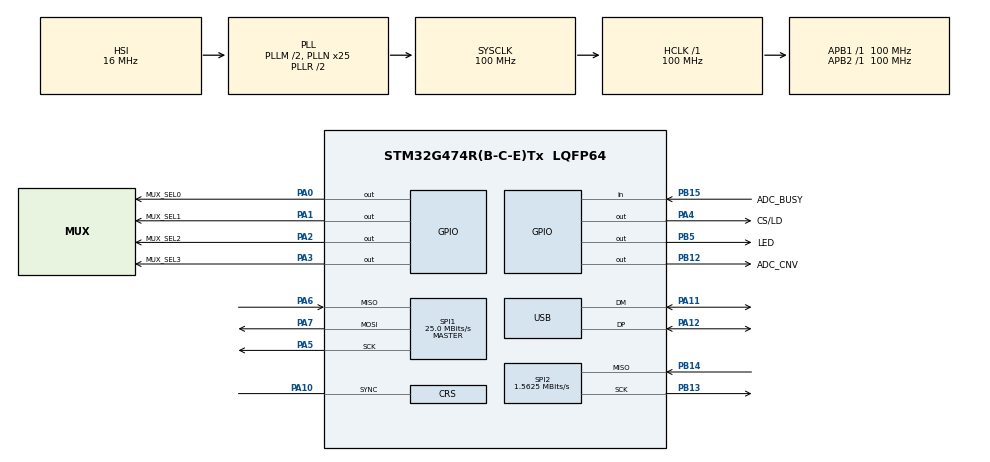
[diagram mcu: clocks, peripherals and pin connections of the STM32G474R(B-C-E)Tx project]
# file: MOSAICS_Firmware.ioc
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Mcu.Family=STM32G4
Mcu.Name=STM32G474R(B-C-E)Tx
Mcu.Package=LQFP64
NVIC.PriorityGroup=NVIC_PRIORITYGROUP_4
NVIC.USB_LP_IRQn=true\:0\:0\:false\:false\:true\:false\:true\:true
PA0.GPIO_Label=MUX_SEL0
PA0.Signal=GPIO_Output
PA1.GPIO_Label=MUX_SEL1
PA1.Signal=GPIO_Output
PA10.Mode=CRS SYNC Source GPIO
PA10.Signal=CRS_SYNC
PA11.Mode=Device
PA11.Signal=USB_DM
PA12.Mode=Device
PA12.Signal=USB_DP
PA13.Mode=Serial_Wire
PA13.Signal=SYS_JTMS-SWDIO
PA14.Mode=Serial_Wire
PA14.Signal=SYS_JTCK-SWCLK
PA2.GPIO_Label=MUX_SEL2
PA2.Signal=GPIO_Output
PA3.GPIO_Label=MUX_SEL3
PA3.Signal=GPIO_Output
PA4.GPIO_Label=CS/LD
PA4.Signal=GPIO_Output
PA5.Mode=Full_Duplex_Master
PA5.Signal=SPI1_SCK
PA6.Mode=Full_Duplex_Master
PA6.Signal=SPI1_MISO
PA7.Mode=Full_Duplex_Master
PA7.Signal=SPI1_MOSI
PB12.GPIO_Label=ADC_CNV
PB12.Signal=GPIO_Output
PB13.Mode=RX_Only_Simplex_Unidirect_Master
PB13.Signal=SPI2_SCK
PB14.Mode=RX_Only_Simplex_Unidirect_Master
PB14.Signal=SPI2_MISO
PB15.GPIO_Label=ADC_BUSY
PB15.Signal=GPIO_Input
PB5.GPIO_Label=LED
PB5.Signal=GPIO_Output
PC14-OSC32_IN.Mode=LSE-External-Oscillator
PC14-OSC32_IN.Signal=RCC_OSC32_IN
PC15-OSC32_OUT.Mode=LSE-External-Oscillator
PC15-OSC32_OUT.Signal=RCC_OSC32_OUT
PF0-OSC_IN.Mode=HSE-External-Oscillator
PF0-OSC_IN.Signal=RCC_OSC_IN
PF1-OSC_OUT.Mode=HSE-External-Oscillator
PF1-OSC_OUT.Signal=RCC_OSC_OUT
ProjectManager.HeapSize=0x200
ProjectManager.StackSize=0x400
ProjectManager.TargetToolchain=STM32CubeIDE
RCC.ADC12Freq_Value=100000000
RCC.ADC345Freq_Value=100000000
RCC.AHBFreq_Value=100000000
RCC.APB1Freq_Value=100000000
RCC.APB1TimFreq_Value=100000000
RCC.APB2Freq_Value=100000000
RCC.APB2TimFreq_Value=100000000
RCC.CK48CLockSelection=RCC_USBCLKSOURCE_HSI48
RCC.CortexFreq_Value=100000000
RCC.EXTERNAL_CLOCK_VALUE=12288000
RCC.HCLKFreq_Value=100000000
RCC.HSE_VALUE=24000000
RCC.HSI48_VALUE=48000000
RCC.HSI_VALUE=16000000
RCC.PLLM=RCC_PLLM_DIV2
RCC.PLLN=25
RCC.SYSCLKFreq_VALUE=100000000
RCC.SYSCLKSource=RCC_SYSCLKSOURCE_PLLCLK
RCC.USBFreq_Value=48000000
RCC.VCOOutputFreq_Value=200000000
SPI1.BaudRatePrescaler=SPI_BAUDRATEPRESCALER_4
SPI1.CalculateBaudRate=25.0 MBits/s
SPI1.DataSize=SPI_DATASIZE_16BIT
SPI1.Direction=SPI_DIRECTION_2LINES
SPI1.Mode=SPI_MODE_MASTER
SPI1.VirtualType=VM_MASTER
SPI2.BaudRatePrescaler=SPI_BAUDRATEPRESCALER_64
SPI2.CLKPhase=SPI_PHASE_1EDGE
SPI2.CLKPolarity=SPI_POLARITY_LOW
SPI2.CalculateBaudRate=1.5625 MBits/s
SPI2.DataSize=SPI_DATASIZE_9BIT
SPI2.Direction=SPI_DIRECTION_2LINES_RXONLY
SPI2.Mode=SPI_MODE_MASTER
SPI2.VirtualType=VM_MASTER
USB_DEVICE.APP_TX_DATA_SIZE=64
USB_DEVICE.CLASS_NAME_FS=CDC
USB_DEVICE.PRODUCT_STRING_CDC_FS=MOSAICS Virtual ComPort
USB_DEVICE.VirtualMode=Cdc
USB_DEVICE.VirtualModeFS=Cdc_FS
VP_SYS_VS_DBSignals.Mode=DisableDeadBatterySignals
VP_USB_DEVICE_VS_USB_DEVICE_CDC_FS.Mode=CDC_FS
board=custom

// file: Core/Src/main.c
/* USER CODE BEGIN Header */
/**
  ******************************************************************************
  * @file           : main.c
  * @brief          : Main program body
  ******************************************************************************
  * @attention
  *
  * Copyright (c) 2024 STMicroelectronics.
  * All rights reserved.
  *
  * This software is licensed under terms that can be found in the LICENSE file
  * in the root directory of this software component.
  * If no LICENSE file comes with this software, it is provided AS-IS.
  *
  ******************************************************************************
  */
/* USER CODE END Header */
#include "main.h"
#include "usb_device.h"

/* USER CODE BEGIN Includes */

#include "usbd_cdc_if.h"
#include "stm32g4xx_hal_flash.h"

/* USER CODE END Includes */

SPI_HandleTypeDef hspi1;
SPI_HandleTypeDef hspi2;

/* USER CODE BEGIN PV */
//The idea is to OR the WRITE_X command and the DAC_X command together to make one 8 bit packet, then shift it 8 bits to make the first
//16 bits of the data frame.

uint8_t WRITE_CODE_N              = 0b00000000;
uint8_t WRITE_CODE_ALL            = 0b10000000;
uint8_t WRITE_SPAN_N              = 0b01100000;
uint8_t WRITE_SPAN_ALL            = 0b11100000;
uint8_t WRITE_UPDATE_N            = 0b00010000;
uint8_t WRITE_UPDATE_ALL          = 0b10010000;
uint8_t WRITE_CODE_N_UPDATE_N     = 0b00110000;
uint8_t WRITE_CODE_N_UPDATE_ALL   = 0b00100000;
uint8_t WRITE_CODE_ALL_UPDATE_ALL = 0b10100000;
uint8_t WRITE_POWER_N             = 0b01000000;
uint8_t WRITE_POWER_CHIP          = 0b01010000;
uint8_t WRITE_MONITOR_MUX         = 0b10110000;
uint8_t WRITE_TOGGLE_SELECT       = 0b11000000;
uint8_t WRITE_GOLBAL_TOGGLE       = 0b11010000;
uint8_t WRITE_CONFIG_CMD          = 0b01110000;
uint8_t WRITE_NO_OP               = 0b11110000;

uint16_t DISBALE_PL = 0b0000000000000100;

uint8_t DAC_0 = 0b00000000;
uint8_t DAC_1 = 0b00000001;
uint8_t DAC_2 = 0b00000010;
uint8_t DAC_3 = 0b00000011;
uint8_t DAC_4 = 0b00000100;
uint8_t DAC_NO_OP = 0b00001111;

uint8_t dacs[5] = {0b00000000, 0b00000001, 0b00000010, 0b00000011, 0b00000100};

uint16_t SPAN_HIZ     = 0b0000000000000000;
uint16_t SPAN_003_125 = 0b0000000000000001;
uint16_t SPAN_006_250 = 0b0000000000000010;
uint16_t SPAN_012_500 = 0b0000000000000011;
uint16_t SPAN_025_000 = 0b0000000000000100;
uint16_t SPAN_050_000 = 0b0000000000000101;
uint16_t SPAN_100_000 = 0b0000000000000110;
uint16_t SPAN_200_000 = 0b0000000000000111;
uint16_t SPAN_300_000 = 0b0000000000001111;
uint16_t SPAN_V_MINUS = 0b0000000000001000;

uint16_t spans[9] = {0b0000000000000001, 0b0000000000000010, 0b0000000000000011, 0b0000000000000100, 0b0000000000000101, 0b0000000000000110, 0b0000000000000111, 0b0000000000001111, 0b0000000000000000};

uint16_t MUX_HIZ       = 0b0000000000000000;
uint16_t MUX_OUT0_CURR = 0b0000000000000001;
uint16_t MUX_OUT1_CURR = 0b0000000000000010;
uint16_t MUX_OUT2_CURR = 0b0000000000000011;
uint16_t MUX_OUT3_CURR = 0b0000000000000100;
uint16_t MUX_OUT4_CURR = 0b0000000000000101;
uint16_t MUX_VCC       = 0b0000000000000110;
uint16_t MUX_VREF      = 0b0000000000001000;
uint16_t MUX_VREFLO    = 0b0000000000001001;
uint16_t MUX_TEMP      = 0b0000000000001010;
uint16_t MUX_VDD0      = 0b0000000000010000;
uint16_t MUX_VDD1      = 0b0000000000010001;
uint16_t MUX_VDD2      = 0b0000000000010010;
uint16_t MUX_VDD3      = 0b0000000000010011;
uint16_t MUX_VDD4      = 0b0000000000010100;
uint16_t MUX_VPLUS     = 0b0000000000010101;
uint16_t MUX_VMINUS    = 0b0000000000010110;
uint16_t MUX_GND       = 0b0000000000010111;
uint16_t MUX_OUT0_VOLT = 0b0000000000011000;
uint16_t MUX_OUT1_VOLT = 0b0000000000011001;
uint16_t MUX_OUT2_VOLT = 0b0000000000011010;
uint16_t MUX_OUT3_VOLT = 0b0000000000011011;
uint16_t MUX_OUT4_VOLT = 0b0000000000011100;

uint16_t current_mux[5] = {0b0000000000000001, 0b0000000000000010, 0b0000000000000011, 0b0000000000000100, 0b0000000000000101};
uint16_t voltage_mux[5] = {0b0000000000011000, 0b0000000000011001, 0b0000000000011010, 0b0000000000011011, 0b0000000000011100};

double range_max[9] = {3.125, 6.25, 12.5, 25.0, 50.0, 100.0, 200.0, 300.0, 0.000};

struct MOSAICS channels[50];

uint8_t shift_pos[50] = {6, 6, 6, 6, 6, 7, 7, 7, 7, 7, 5, 5, 5, 5, 5, 8, 8, 8, 8, 8, 4, 4, 4, 4, 4, 9, 9, 9, 9, 9, 3, 3, 3, 3, 3, 0, 0, 0, 0, 0, 2, 2, 2, 2, 2, 1, 1, 1, 1, 1}; //the order that each channel appears in the SPI shift register in order from ch1 to ch50
uint8_t dac_pos[50]   = {4, 3, 2, 1, 0, 4, 3, 2, 1, 0, 4, 3, 2, 1, 0, 4, 3, 2, 1, 0, 4, 3, 2, 1, 0, 4, 3, 2, 1, 0, 4, 3, 2, 1, 0, 4, 3, 2, 1, 0, 4, 3, 2, 1, 0, 4, 3, 2, 1, 0}; //the index of the DAC on each LTC2662 that controls each channel in order from ch1 to ch50
uint8_t mux_codes[50] = {0x05, 0x05, 0x05, 0x05, 0x05, 0x07, 0x07, 0x07, 0x07, 0x07, 0x0C, 0x0C, 0x0C, 0x0C, 0x0C, 0x0D, 0x0D, 0x0D, 0x0D, 0x0D, 0x0A, 0x0A, 0x0A, 0x0A, 0x0A, 0x0B, 0x0B, 0x0B, 0x0B, 0x0B, 0x08, 0x08, 0x08, 0x08, 0x08, 0x09, 0x09, 0x09, 0x09, 0x09, 0x01, 0x01, 0x01, 0x01, 0x01, 0x00, 0x00, 0x00, 0x00, 0x00};
uint8_t mux_codes_temp[10] = {0x0B, 0x0D, 0x07, 0x05, 0x0C, 0x0A, 0x08, 0x01, 0x00, 0x09}; //External MUX turn on when addressing chips by their number for die temp measurement
double temp_voltage_coef_1[10];
double temp_voltage_coef_0[10];
uint8_t mux_sel_pins[4] = {GPIO_PIN_2, GPIO_PIN_1, GPIO_PIN_0, GPIO_PIN_3};

uint8_t Buf[APP_RX_DATA_SIZE];
uint32_t Len;

uint8_t send_buf[APP_TX_DATA_SIZE];

uint16_t state = 0;

uint16_t ADC_Buffer[2];
int32_t ADC_Value;
int32_t ADC_Filter;
int32_t ADC_Filter_Save[ADC_SAMPLES];
double ADC_Convert;
double ADC_Avg;
double core_temp;

uint8_t count = 0;
uint8_t curr_char;
uint16_t bit_stream[20];
uint16_t tmp_cmd;
uint16_t tmp_value;

uint16_t no_op_code;
uint16_t off_code;

uint8_t type[MAX_CMD_SIZE];
uint8_t command[MAX_CMD_SIZE];
uint8_t channel[MAX_CMD_SIZE];
uint8_t value[MAX_CMD_SIZE];
uint8_t coe_1[MAX_CMD_SIZE];
uint8_t coe_2[MAX_CMD_SIZE];
uint8_t mode[MAX_CMD_SIZE];
uint8_t channel_int;
uint16_t value_int;
double current_float;
double current_float_adj;
double coe_float[2];

uint8_t type_set[MAX_CMD_SIZE] = "SET";
uint8_t type_get[MAX_CMD_SIZE] = "GET";
uint8_t command_range[MAX_CMD_SIZE] = "RANGE";
uint8_t command_current[MAX_CMD_SIZE] = "CURRENT";
uint8_t command_voltage[MAX_CMD_SIZE] = "VOLTAGE";
uint8_t command_reference[MAX_CMD_SIZE] = "REFERENCE";
uint8_t command_core_temp[MAX_CMD_SIZE] = "TEMP";
uint8_t command_cal[MAX_CMD_SIZE] = "CAL";
uint8_t command_write_flash[MAX_CMD_SIZE] = "WRITE";
uint8_t command_mode[MAX_CMD_SIZE] = "MODE";
uint8_t command_echo[MAX_CMD_SIZE] = "ECHO";
uint8_t command_debug[MAX_CMD_SIZE] = "DEBUG";
const uint32_t baudrate = 115200;
uint8_t USB_CONFIG[7] = {(uint8_t)baudrate>>24, (uint8_t)baudrate>>16, (uint8_t)baudrate>>8, (uint8_t)baudrate, 0x00, 0x00, 0x08};

uint8_t tmp_mux_code;

uint32_t voltage_write_start = 0x0807F800;
uint32_t current_write_start = 0x0807F000;

double voltage_coe_read[100];
double current_coe_read[100];

double voltage_coe_write[100];
double current_coe_write[100];

uint8_t cal_mode = 0;
uint8_t debug_mode = 0;
uint8_t echo_mode = 0;

/* USER CODE END PV */

void SystemClock_Config(void);
static void MX_GPIO_Init(void);
static void MX_SPI1_Init(void);
static void MX_SPI2_Init(void);

/* USER CODE BEGIN 0 */

uint8_t Extract_Data(uint8_t *Buf, uint8_t *Data, uint32_t Start){
	uint8_t count = 0;
	uint8_t temp[MAX_CMD_SIZE];
	while ((count <= MAX_CMD_SIZE) && (Buf[Start + count] != ':')){
		temp[count] = Buf[Start + count];
		count++;
	}
	if (count > 0){
		memcpy(Data, temp, count);
		return count + Start;
	}
	return 0;
}

//write some number of 32 bit words to flash at some address
uint32_t Write_To_Flash(uint32_t start_addr, uint64_t *data, uint16_t words, uint32_t start_page, uint32_t end_page){
	static FLASH_EraseInitTypeDef erase_struct;
	uint32_t page_error;
	uint32_t so_far = 0;

	HAL_FLASH_Unlock();

	erase_struct.TypeErase = FLASH_TYPEERASE_PAGES;
	erase_struct.Page = start_page;
	erase_struct.NbPages = end_page;

	if (HAL_FLASHEx_Erase(&erase_struct, &page_error) != HAL_OK){
		return HAL_FLASH_GetError();
	}

	while (so_far < words){
		if (HAL_FLASH_Program(FLASH_TYPEPROGRAM_DOUBLEWORD, start_addr, data[so_far]) == HAL_OK){
			start_addr += 8;
			so_far++;
		}
		else {
			return HAL_FLASH_GetError();
		}
	}

	HAL_FLASH_Lock();
	return 0;
}

void Read_From_Flash(uint32_t start_addr, double *rx_buf, uint16_t words){
	for (uint16_t i = 0; i < words; i++){
		rx_buf[i] = *(__IO double *)start_addr;
		start_addr += 8;
	}
}

/* USER CODE END 0 */

int main(void)
{
  /* USER CODE BEGIN 1 */

	for (uint8_t i = 0; i < 50; i++){ //init struct with channel data
		channels[i].range = range_max[0];
		channels[i].value = 0.0;
		channels[i].shift = shift_pos[i];
		channels[i].dac = dac_pos[i];
		channels[i].mux_code = mux_codes[i];

	}

  /* USER CODE END 1 */

  /* MCU Configuration--------------------------------------------------------*/

  /* Reset of all peripherals, Initializes the Flash interface and the Systick. */
  HAL_Init();

  /* Configure the system clock */
  SystemClock_Config();

  /* Initialize all configured peripherals */
  MX_GPIO_Init();
  MX_SPI1_Init();
  MX_SPI2_Init();
  MX_USB_Device_Init();
  /* USER CODE BEGIN 2 */

  vcp_init();

  //RESET ALL OUTPUTS TO 0

  tmp_cmd = 0x0000 | (WRITE_CODE_ALL_UPDATE_ALL | DAC_0);
  tmp_value = 0x0000;
  for (uint8_t i = 0; i < 10; i++){
	  bit_stream[i*2] = tmp_cmd;
	  bit_stream[(i*2) + 1] = tmp_value;
  }
  HAL_GPIO_WritePin(GPIOA, GPIO_PIN_4, GPIO_PIN_RESET);
  HAL_SPI_Transmit(&hspi1, bit_stream, 20, 100);
  HAL_GPIO_WritePin(GPIOA, GPIO_PIN_4, GPIO_PIN_SET);

  tmp_cmd = 0x0000 | (WRITE_SPAN_ALL | DAC_0);
  tmp_value = 0x0000 | (SPAN_HIZ);
  for (uint8_t i = 0; i < 10; i++){
	  bit_stream[i*2] = tmp_cmd;
	  bit_stream[(i*2) + 1] = tmp_value;
  }
  HAL_GPIO_WritePin(GPIOA, GPIO_PIN_4, GPIO_PIN_RESET);
  HAL_SPI_Transmit(&hspi1, bit_stream, 20, 100);
  HAL_GPIO_WritePin(GPIOA, GPIO_PIN_4, GPIO_PIN_SET);

  tmp_cmd = 0x0000 | (WRITE_CONFIG_CMD | DAC_0);
  tmp_value = 0x0000 | (DISBALE_PL);
  for (uint8_t i = 0; i < 10; i++){
  	  bit_stream[i*2] = tmp_cmd;
  	  bit_stream[(i*2) + 1] = tmp_value;
    }
    HAL_GPIO_WritePin(GPIOA, GPIO_PIN_4, GPIO_PIN_RESET);
    HAL_SPI_Transmit(&hspi1, bit_stream, 20, 100);
    HAL_GPIO_WritePin(GPIOA, GPIO_PIN_4, GPIO_PIN_SET);

  Read_From_Flash(voltage_write_start, voltage_coe_read, 100); //read 100 64bit words from flash
  for (uint8_t i = 0; i < 50; i++){
	  channels[i].voltage_coef_1 = voltage_coe_read[i * 2];
	  channels[i].voltage_coef_0 = voltage_coe_read[(i * 2) + 1];
	  temp_voltage_coef_1[9-channels[i].shift] = voltage_coe_read[i * 2];
	  temp_voltage_coef_0[9-channels[i].shift] = voltage_coe_read[(i * 2) + 1];
  }

  Read_From_Flash(current_write_start, current_coe_read, 100); //read 100 64bit words from flash
  for (uint8_t i = 0; i < 50; i++){
	  channels[i].current_coef_1 = current_coe_read[i * 2];
	  channels[i].current_coef_0 = current_coe_read[(i * 2) + 1];
  }

  /* USER CODE END 2 */

  /* Infinite loop */
  /* USER CODE BEGIN WHILE */
  while (1)
  {
	  //HAL_GPIO_TogglePin(GPIOB, GPIO_PIN_5);
	  switch (state){
	  	  case 0: //idle state
	  		  if (Recv_Data(Buf, &Len)){
	  			  memset(type, 0, sizeof type);
	  			  memset(command, 0, sizeof command);
	  			  memset(channel, 0, sizeof channel);
	  			  memset(value, 0, sizeof value);
	  			  memset(coe_1, 0, sizeof coe_1);
	  			  memset(coe_2, 0, sizeof coe_2);
	  			  memset(mode, 0, sizeof mode);
	  			  state = 1;
	  		  }
	  		  break;
	  	  case 1: //check header
	  		  if (Buf[0] == ':'){
	  			  state = 2;
	  		  }
	  		  else {
	  			  state = 0; //ERROR
	  		  }
	  		  break;
	  	  case 2: //extract and compare first command
	  		  count = Extract_Data(Buf, type, 1);
	  		  if (count){ //SET
	  			  if (!(strcmp(type, type_set))){
	  				  //strcpy(send_buf, "SETTING RANGE\n");
	  				  state = 3;
	  			  }
	  			  else if (!(strcmp(type, type_get))){
	  				  state = 10;
	  			  }
	  			  else {
	  				  state = 0;
	  			  }

	  		  }
	  		  else {
	  			  state = 0;
	  		  }
	  		  break;
	  	  case 3: //SET
	  		  count = Extract_Data(Buf, command, count + 1);
	  		  if (count){
	  			  if (!(strcmp(command, command_range))){ //RANGE
	  				  state = 4;
	  			  }
	  			  else if (!strcmp(command, command_current)){ //CURRENT
	  				  state = 5;
	  			  }
	  			  else if (!strcmp(command, command_cal)){ //CALIBRATION
	  				  state = 14;
	  			  }
	  			  else if (!strcmp(command, command_mode)){ //MODE
	  				  state = 17;
	  			  }
	  			  else {
	  				  state = 0;
	  			  }
	  		  }
	  		  else {
	  			  state = 0;
	  		  }
	  		  break;
	  	  case 4: //GET RANGE CHANNEL
	  		  count = Extract_Data(Buf, channel, count + 1);
			  if (count){
				  channel_int = atoi(channel);
				  if ((channel_int >= 1) && (channel_int <= 50)){
					  HAL_GPIO_TogglePin(GPIOB, GPIO_PIN_5);
					  state = 7;
				  }
				  else {
					  state = 0;
				  }
			  }
			  else {
				  state = 0;
			  }
			  break;
	  	  case 5: //GET CURRENT CHANNEL
	  		  count = Extract_Data(Buf, channel, count + 1);
			  if (count){
				  channel_int = atoi(channel);
				  if ((channel_int >= 1) && (channel_int <= 50)){
					  HAL_GPIO_TogglePin(GPIOB, GPIO_PIN_5);
					  state = 6;
				  }
				  else {
					  state = 0;
				  }
			  }
			  else {
				  state = 0;
			  }
			  break;
	  	  case 6: //SET CURRENT
	  		  count = Extract_Data(Buf, value, count + 1);
	  		  if (count){
	  			  current_float = atof(value);
	  			  if (!cal_mode){
	  				  current_float_adj = (current_float * channels[channel_int - 1].current_coef_1) + channels[channel_int - 1].current_coef_0;
	  			  }
	  			  else {
	  				  current_float_adj = current_float;
	  			  }
	  			  if (current_float <= channels[channel_int - 1].range){
	  				  if (echo_mode){
	  					sprintf(send_buf, "CH: %d, C: %fmA\n", channel_int, current_float);
	  			        while(vcp_send_alt(send_buf, strlen(send_buf)) == -1){}
	  				  }
	  				  channels[channel_int - 1].value = current_float;
	  				  state = 9;
	  			  }
	  			  else {
	  				  sprintf(send_buf, "ERROR %fmA is out of range for channel %d (max is: %fmA)\n", current_float, channel_int, channels[channel_int - 1].range);
	  				  while(vcp_send_alt(send_buf, strlen(send_buf)) == -1){}
	  				  state = 0;
	  			  }

	  		  }
	  		  else {
	  			  state = 0;
	  		  }
	  		  break;
	  	  case 7: //SET RANGE
	  		  count  = Extract_Data(Buf, value, count + 1);
	  		  if (count){
	  			  value_int = atoi(value);
	  			  if ((value_int >= 1) && (value_int <= 9)){
	  				  if (echo_mode){
	  					sprintf(send_buf, "CH: %d, R: %fmA\n", channel_int, range_max[value_int - 1]);
	  					while(vcp_send_alt(send_buf, strlen(send_buf)) == -1){}
	  				  }

					  channels[channel_int - 1].range = range_max[value_int - 1];
					  state = 8;
	  			  }
	  			  else {
	  				  sprintf(send_buf, "ERROR %d is an invalid range (1-9 are valid)\n", value_int);
	  				  while(vcp_send_alt(send_buf, strlen(send_buf)) == -1){};
	  				  state = 0;
	  			  }
	  		  }
	  		  else {
	  			state = 0;
	  		  }
	  		  break;
	  	  case 8://SEND Bit Stream Range
	  		  tmp_cmd = 0x0000 | (WRITE_SPAN_N | dacs[channels[channel_int - 1].dac]);
	  		  tmp_value = 0x0000 | (spans[value_int - 1]);
	  		  no_op_code = 0x0000 | (WRITE_NO_OP | DAC_4);
	  		  off_code = 0x0000;
	  		  if (debug_mode){
	  			  sprintf(send_buf, "sending %d, %d\n", tmp_cmd, tmp_value);
	  			  while(vcp_send_alt(send_buf, strlen(send_buf)) == -1){}
	  		  }

		      for (uint8_t i = 0; i < 10; i++){
		    	  if (i == channels[channel_int - 1].shift){
		    		  bit_stream[i*2] = tmp_cmd;
		    		  bit_stream[(i*2) + 1] = tmp_value;
		    	  }
		    	  else {
		    		  bit_stream[i*2] = no_op_code;
		    		  bit_stream[(i*2) + 1] = off_code;
		    	  }
		      }
		      HAL_GPIO_WritePin(GPIOA, GPIO_PIN_4, GPIO_PIN_RESET);
		      HAL_SPI_Transmit(&hspi1, bit_stream, 20, 100);
		      HAL_GPIO_WritePin(GPIOA, GPIO_PIN_4, GPIO_PIN_SET);
//
	  		  state = 0;
	  		  break;
	  	  case 9: //Send Bit Stream Current
	  		  tmp_cmd = 0x0000 | (WRITE_CODE_N_UPDATE_N | dacs[channels[channel_int - 1].dac]);
	  		  tmp_value = 0xFFFF * (current_float_adj/channels[channel_int - 1].range);
	  		  //tmp_value = 0xFFFF;
	  		  no_op_code = 0x0000 | (WRITE_NO_OP | DAC_4);
	  		  off_code = 0x0000;
	  		  if (debug_mode){
	  			  sprintf(send_buf, "sending %d, %d\n", tmp_cmd, tmp_value);
	  			  while(vcp_send_alt(send_buf, strlen(send_buf)) == -1){}
	  		  }

		      for (uint8_t i = 0; i < 10; i++){
		    	  if (i == channels[channel_int - 1].shift){
		    		  bit_stream[i*2] = tmp_cmd;
		    		  bit_stream[(i*2) + 1] = tmp_value;
		    	  }
		    	  else {
		    		  bit_stream[i*2] = no_op_code;
		    		  bit_stream[(i*2) + 1] = off_code;
		    	  }
		      }
		      HAL_GPIO_WritePin(GPIOA, GPIO_PIN_4, GPIO_PIN_RESET);
		      HAL_SPI_Transmit(&hspi1, bit_stream, 20, 100);
		      HAL_GPIO_WritePin(GPIOA, GPIO_PIN_4, GPIO_PIN_SET);

	  		  state = 0;
	  		  break;
	  	  case 10: //GET
	  		  count = Extract_Data(Buf, command, count + 1);
	  		  if (count){
	  			  if (!(strcmp(command, command_voltage))){
	  				  state = 11;
	  			  }
	  			  else if (!(strcmp(command, command_current))){
	  				  state = 12;
	  			  }
	  			  else if (!(strcmp(command, command_reference))){
	  				  state = 13;
	  			  }
	  			  else if (!(strcmp(command, command_core_temp))){
	  				  state = 18;
	  			  }
	  			  else {
	  				  state = 0;
	  			  }
	  		  }
	  		  else {
	  			  state = 0;
	  		  }
	  		  break;
	  	  case 11: //send bitstream for get voltage
	  		  count = Extract_Data(Buf, channel, count + 1);
			  if (count){
				  channel_int = atoi(channel);
				  if ((channel_int >= 1) && (channel_int <= 50)){

				  }
				  else {
					  state = 0;
					  break;
				  }
			  }
			  else {
				  state = 0;
				  break;
			  }
	  		  tmp_cmd = 0x0000 | (WRITE_MONITOR_MUX);
	  		  tmp_value = 0x0000 | (voltage_mux[channels[channel_int - 1].dac]);
	  		  no_op_code = 0x0000 | (WRITE_NO_OP | DAC_4);
	  		  off_code = 0x0000;
	  		  tmp_mux_code = channels[channel_int - 1].mux_code;
	  		  for (uint8_t i = 0; i < 4; i++){
	  			  HAL_GPIO_WritePin(GPIOA, mux_sel_pins[i], ((0x01 & tmp_mux_code >> i) ? GPIO_PIN_SET : GPIO_PIN_RESET));
	  		  }
	  		  if (debug_mode){
	  			 sprintf(send_buf, "sending %d, %d\n", tmp_cmd, tmp_value);
			     while(vcp_send_alt(send_buf, strlen(send_buf)) == -1){}
	  		  }

			  for (uint8_t i = 0; i < 10; i++){
				  if (i == channels[channel_int - 1].shift){
					  bit_stream[i*2] = tmp_cmd;
					  bit_stream[(i*2) + 1] = tmp_value;
				  }
				  else {
					  bit_stream[i*2] = no_op_code;
					  bit_stream[(i*2) + 1] = off_code;
				  }
			  }
			  HAL_GPIO_WritePin(GPIOA, GPIO_PIN_4, GPIO_PIN_RESET);
			  HAL_SPI_Transmit(&hspi1, bit_stream, 20, 100);
			  HAL_GPIO_WritePin(GPIOA, GPIO_PIN_4, GPIO_PIN_SET);
			  for (uint8_t samples = 0; samples < ADC_SAMPLES; samples++){
				  HAL_Delay(1);
				  HAL_GPIO_WritePin(GPIOB, GPIO_PIN_12, GPIO_PIN_SET); // Set CNV Pin high to init conversion.
				  while(HAL_GPIO_ReadPin(GPIOB, GPIO_PIN_15) == GPIO_PIN_SET){

				  }
				  HAL_SPI_Receive(&hspi2, (uint8_t *)ADC_Buffer, 2, 1000);
				  HAL_GPIO_WritePin(GPIOB, GPIO_PIN_12, GPIO_PIN_RESET);
				  ADC_Value = ((uint32_t)ADC_Buffer[0]) << 9 | ((uint32_t)ADC_Buffer[1]);
				  if ((ADC_Value & 0b100000000000000000) >> 17 == 1){ //the value is negative
					  ADC_Value = (ADC_Value & 0b011111111111111111) - 0b100000000000000000;
				  }
				  //ADC_Filter += ADC_Value;
				  ADC_Filter_Save[samples] = ADC_Value;
			  }
			  for (uint8_t i = 0; i < ADC_SAMPLES; i++){
				  ADC_Filter += ADC_Filter_Save[i];
			  }
			  ADC_Filter = ADC_Filter/(ADC_SAMPLES);
			  ADC_Avg = ADC_Filter*0.000154;
			  if (!cal_mode){
				  ADC_Avg = (ADC_Avg*channels[channel_int - 1].voltage_coef_1) + channels[channel_int - 1].voltage_coef_0;
			  }
			  ADC_Convert = 0;
			  ADC_Filter = 0;

			  sprintf(send_buf, "CH: %d, V: %f\n", channel_int, ADC_Avg);
			  while(vcp_send_alt(send_buf, strlen(send_buf)) == -1){}
			  ADC_Avg = 0;
			  state = 0;
	  		  break;
	  	  case 12://send bitstream for get current.
		      count = Extract_Data(Buf, channel, count + 1);
			  if (count){
				  channel_int = atoi(channel);
				  if ((channel_int >= 1) && (channel_int <= 50)){

				  }
				  else {
					  state = 0;
					  break;
				  }
			  }
			  else {
				  state = 0;
				  break;
			  }
	  		  tmp_cmd = 0x0000 | (WRITE_MONITOR_MUX);
	  		  tmp_value = 0x0000 | (current_mux[channels[channel_int - 1].dac]);
	  		  no_op_code = 0x0000 | (WRITE_NO_OP | DAC_4);
	  		  off_code = 0x0000;
	  		  state = 0;
	  		  break;
	  	  case 13:
	  		  count = Extract_Data(Buf, channel, count + 1);
			  if (count){
				  channel_int = atoi(channel);
				  if ((channel_int >= 1) && (channel_int <= 50)){

				  }
				  else {
					  state = 0;
					  break;
				  }
			  }
			  else {
				  state = 0;
				  break;
			  }
	  		  tmp_cmd = 0x0000 | (WRITE_MONITOR_MUX);
		      tmp_value = 0x0000 | (MUX_VREF);
		      no_op_code = 0x0000 | (WRITE_NO_OP | DAC_4);
		      off_code = 0x0000;
		      HAL_Delay(1);
			  sprintf(send_buf, "sending %d, %d\n", tmp_cmd, tmp_value);
			  while(vcp_send_alt(send_buf, strlen(send_buf)) == -1){}
			  for (uint8_t i = 0; i < 10; i++){
				  if (i == channels[channel_int - 1].shift){
					  bit_stream[i*2] = tmp_cmd;
					  bit_stream[(i*2) + 1] = tmp_value;
				  }
				  else {
					  bit_stream[i*2] = no_op_code;
					  bit_stream[(i*2) + 1] = off_code;
				  }
			  }
			  HAL_GPIO_WritePin(GPIOA, GPIO_PIN_4, GPIO_PIN_RESET);
			  HAL_SPI_Transmit(&hspi1, bit_stream, 20, 100);
			  HAL_GPIO_WritePin(GPIOA, GPIO_PIN_4, GPIO_PIN_SET);
			  state = 0;
	  		  break;
	  	  case 14:
	  		  count = Extract_Data(Buf, command, count + 1);
	  		  if (count){
	  			  if (!strcmp(command, command_voltage)){
	  				  state = 15;
	  			  }
	  			  else if (!strcmp(command, command_current)){
	  				  state = 16;
	  			  }
	  			  else {
	  				  state = 0;
	  			  }
	  		  }
	  		  else {
	  			  state = 0;
	  		  }
	  		  break;
	  	  case 15:
	  		  //Write voltage coe to FLASH
	  		  count = Extract_Data(Buf, channel, count + 1);
	  		  if (count){
				  if (!strcmp(channel, command_write_flash)){
					  Write_To_Flash(voltage_write_start, voltage_coe_write, 100, 127, 127);
					  Read_From_Flash(voltage_write_start, voltage_coe_read, 100); //read 100 64bit words from flash
					  for (uint8_t i = 0; i < 50; i++){
						  channels[i].voltage_coef_1 = voltage_coe_read[i * 2];
						  channels[i].voltage_coef_0 = voltage_coe_read[(i * 2) + 1];
					  }
					  sprintf(send_buf, "Finished write voltage coefficients");
					  while(vcp_send_alt(send_buf, strlen(send_buf)) == -1){}
				  }
				  else {
					  channel_int = atoi(channel);
					  if ((channel_int >= 1)  && (channel_int <= 50)){
						  count = Extract_Data(Buf, coe_1, count + 1);
						  if (!count){
							  state = 0;
							  break;
						  }
						  count = Extract_Data(Buf, coe_2, count + 1);
						  if (!count){
							  state = 0;
							  break;
						  }
						  voltage_coe_write[(channel_int - 1) * 2] = atof(coe_1);
						  voltage_coe_write[((channel_int - 1) * 2) + 1] = atof(coe_2);

						  sprintf(send_buf, "CH: %d, stage voltage, x^1: %f, x^0: %f\n", channel_int, voltage_coe_write[(channel_int - 1) * 2], voltage_coe_write[((channel_int - 1) * 2) + 1]);
						  while(vcp_send_alt(send_buf, strlen(send_buf)) == -1){}
					  }
					  else {
						  state = 0;
					  }
				  }
	  		  }
	  		  else {
	  			  state = 0;
	  		  }
	  		  state = 0;
	  		  break;
	  	  case 16:
	  		  //write current coe to FLASH
	  		  count = Extract_Data(Buf, channel, count + 1);
	  		  if (count){
				  if (!strcmp(channel, command_write_flash)){
					  Write_To_Flash(current_write_start, current_coe_write, 100, 126, 126);
					  Read_From_Flash(current_write_start, current_coe_read, 100); //read 100 64bit words from flash
					  for (uint8_t i = 0; i < 50; i++){
						  channels[i].current_coef_1 = current_coe_read[i * 2];
						  channels[i].current_coef_0 = current_coe_read[(i * 2) + 1];
					  }
					  sprintf(send_buf, "Finished write current coefficients");
					  while(vcp_send_alt(send_buf, strlen(send_buf)) == -1){}
				  }
				  else {
					  channel_int = atoi(channel);
					  if ((channel_int >= 1)  && (channel_int <= 50)){
						  count = Extract_Data(Buf, coe_1, count + 1);
						  if (!count){
							  state = 0;
							  break;
						  }
						  count = Extract_Data(Buf, coe_2, count + 1);
						  if (!count){
							  state = 0;
							  break;
						  }
						  current_coe_write[(channel_int - 1) * 2] = atof(coe_1);
						  current_coe_write[((channel_int - 1) * 2) + 1] = atof(coe_2);

						  sprintf(send_buf, "CH: %d, stage current, x^1: %f, x^0: %f\n", channel_int, current_coe_write[(channel_int - 1) * 2], current_coe_write[((channel_int - 1) * 2) + 1]);
						  while(vcp_send_alt(send_buf, strlen(send_buf)) == -1){}
					  }
					  else {
						  state = 0;
					  }
				  }
	  		  }
	  		  else {
	  			  state = 0;
	  		  }
	  		  state = 0;
	  		  break;
	  	  case 17:
	  		  //set cal mode (returns raw adc voltage)
	  		  count  = Extract_Data(Buf, mode, count + 1);
	  		  if (count){
	  			  count = Extract_Data(Buf, channel, count + 1);
	  			  if (count){
	  				  channel_int = atoi(channel);
	  				  if (channel_int != 1 && channel_int != 0){
	  					  state = 0;
	  					  break;
	  				  }
	  				if (!strcmp(mode, command_cal)){
					  cal_mode = atoi(channel);
					  sprintf(send_buf, "Cal Mode: %d\n", cal_mode);
					  while(vcp_send_alt(send_buf, strlen(send_buf)) == -1){}
	  				}
	  				else if (!strcmp(mode, command_echo)){
					  echo_mode = atoi(channel);
					  sprintf(send_buf, "Echo Mode: %d\n", echo_mode);
					  while(vcp_send_alt(send_buf, strlen(send_buf)) == -1){}
	  				}
	  				else if (!strcmp(mode, command_debug)){
					  debug_mode = atoi(channel);
					  sprintf(send_buf, "Debug Mode: %d\n", debug_mode);
					  while(vcp_send_alt(send_buf, strlen(send_buf)) == -1){}
	  				}
	  				else{
	  					state = 0;
	  			  }
	  			}
				else {
					state = 0;
				  }
	  		  }
	  		  state = 0;
	  		  break;
	  	  case 18:
	  		  count = Extract_Data(Buf, channel, count + 1);
			  if (count){
				  channel_int = atoi(channel);
				  if ((channel_int >= 1) && (channel_int <= 10)){

				  }
				  else {
					  state = 0;
					  break;
				  }
			  }
			  else {
				  state = 0;
				  break;
			  }
			  tmp_cmd = 0x0000 | (WRITE_MONITOR_MUX);
			  tmp_value = 0x0000 | (MUX_TEMP);
			  no_op_code = 0x0000 | (WRITE_NO_OP | DAC_4);
			  off_code = 0x0000;
			  tmp_mux_code = mux_codes_temp[channel_int-1];
			  for (uint8_t i = 0; i < 4; i++){
				  HAL_GPIO_WritePin(GPIOA, mux_sel_pins[i], ((0x01 & tmp_mux_code >> i) ? GPIO_PIN_SET : GPIO_PIN_RESET));
			  }
			  if (debug_mode){
				 sprintf(send_buf, "sending %d, %d\n", tmp_cmd, tmp_value);
				 while(vcp_send_alt(send_buf, strlen(send_buf)) == -1){}
			  }

			  for (uint8_t i = 0; i < 10; i++){
				  if (i == 10-channel_int){
					  bit_stream[i*2] = tmp_cmd;
					  bit_stream[(i*2) + 1] = tmp_value;
				  }
				  else {
					  bit_stream[i*2] = no_op_code;
					  bit_stream[(i*2) + 1] = off_code;
				  }
			  }
			  HAL_GPIO_WritePin(GPIOA, GPIO_PIN_4, GPIO_PIN_RESET);
			  HAL_SPI_Transmit(&hspi1, bit_stream, 20, 100);
			  HAL_GPIO_WritePin(GPIOA, GPIO_PIN_4, GPIO_PIN_SET);
			  for (uint8_t samples = 0; samples < ADC_SAMPLES; samples++){
				  HAL_Delay(4);
				  HAL_GPIO_WritePin(GPIOB, GPIO_PIN_12, GPIO_PIN_SET); // Set CNV Pin high to init conversion.
				  while(HAL_GPIO_ReadPin(GPIOB, GPIO_PIN_15) == GPIO_PIN_SET){

				  }
				  HAL_SPI_Receive(&hspi2, (uint8_t *)ADC_Buffer, 2, 1000);
				  HAL_GPIO_WritePin(GPIOB, GPIO_PIN_12, GPIO_PIN_RESET);
				  ADC_Value = ((uint32_t)ADC_Buffer[0]) << 9 | ((uint32_t)ADC_Buffer[1]);
				  if ((ADC_Value & 0b100000000000000000) >> 17 == 1){ //the value is negative
					  ADC_Value = (ADC_Value & 0b011111111111111111) - 0b100000000000000000;
				  }
				  //ADC_Filter += ADC_Value;
				  ADC_Filter_Save[samples] = ADC_Value;
			  }
			  for (uint8_t i = 0; i < ADC_SAMPLES; i++){
				  ADC_Filter += ADC_Filter_Save[i];
			  }
			  ADC_Filter = ADC_Filter/(ADC_SAMPLES);
			  ADC_Avg = ADC_Filter*0.000154;
			  if (!cal_mode){
				  ADC_Avg = (ADC_Avg*temp_voltage_coef_1[channel_int - 1]) + temp_voltage_coef_0[channel_int - 1];
			  }
			  ADC_Convert = 0;
			  ADC_Filter = 0;

			  core_temp = 25+(1.4-ADC_Avg)/(0.0037);//from datasheet

			  sprintf(send_buf, "Chip: %d, Temp: %f degC\n", channel_int, core_temp);
			  while(vcp_send_alt(send_buf, strlen(send_buf)) == -1){}
			  ADC_Avg = 0;
			  core_temp = 0;
			  state = 0;
			  break;
	  }

    /* USER CODE END WHILE */

  }
}

void SystemClock_Config(void)
{
  RCC_OscInitTypeDef RCC_OscInitStruct = {0};
  RCC_ClkInitTypeDef RCC_ClkInitStruct = {0};
  RCC_CRSInitTypeDef pInit = {0};

  /** Configure the main internal regulator output voltage
  */
  HAL_PWREx_ControlVoltageScaling(PWR_REGULATOR_VOLTAGE_SCALE1);

  /** Initializes the RCC Oscillators according to the specified parameters
  * in the RCC_OscInitTypeDef structure.
  */
  RCC_OscInitStruct.OscillatorType = RCC_OSCILLATORTYPE_HSI|RCC_OSCILLATORTYPE_HSI48;
  RCC_OscInitStruct.HSIState = RCC_HSI_ON;
  RCC_OscInitStruct.HSICalibrationValue = RCC_HSICALIBRATION_DEFAULT;
  RCC_OscInitStruct.HSI48State = RCC_HSI48_ON;
  RCC_OscInitStruct.PLL.PLLState = RCC_PLL_ON;
  RCC_OscInitStruct.PLL.PLLSource = RCC_PLLSOURCE_HSI;
  RCC_OscInitStruct.PLL.PLLM = RCC_PLLM_DIV2;
  RCC_OscInitStruct.PLL.PLLN = 25;
  RCC_OscInitStruct.PLL.PLLP = RCC_PLLP_DIV2;
  RCC_OscInitStruct.PLL.PLLQ = RCC_PLLQ_DIV2;
  RCC_OscInitStruct.PLL.PLLR = RCC_PLLR_DIV2;
  if (HAL_RCC_OscConfig(&RCC_OscInitStruct) != HAL_OK)
  {
    Error_Handler();
  }

  /** Initializes the CPU, AHB and APB buses clocks
  */
  RCC_ClkInitStruct.ClockType = RCC_CLOCKTYPE_HCLK|RCC_CLOCKTYPE_SYSCLK
                              |RCC_CLOCKTYPE_PCLK1|RCC_CLOCKTYPE_PCLK2;
  RCC_ClkInitStruct.SYSCLKSource = RCC_SYSCLKSOURCE_PLLCLK;
  RCC_ClkInitStruct.AHBCLKDivider = RCC_SYSCLK_DIV1;
  RCC_ClkInitStruct.APB1CLKDivider = RCC_HCLK_DIV1;
  RCC_ClkInitStruct.APB2CLKDivider = RCC_HCLK_DIV1;

  if (HAL_RCC_ClockConfig(&RCC_ClkInitStruct, FLASH_LATENCY_3) != HAL_OK)
  {
    Error_Handler();
  }

  /** Enable the SYSCFG APB clock
  */
  __HAL_RCC_CRS_CLK_ENABLE();

  /** Configures CRS
  */
  pInit.Prescaler = RCC_CRS_SYNC_DIV1;
  pInit.Source = RCC_CRS_SYNC_SOURCE_GPIO;
  pInit.Polarity = RCC_CRS_SYNC_POLARITY_RISING;
  pInit.ReloadValue = __HAL_RCC_CRS_RELOADVALUE_CALCULATE(48000000,1);
  pInit.ErrorLimitValue = 34;
  pInit.HSI48CalibrationValue = 32;

  HAL_RCCEx_CRSConfig(&pInit);
}

static void MX_SPI1_Init(void)
{

  /* SPI1 parameter configuration*/
  hspi1.Instance = SPI1;
  hspi1.Init.Mode = SPI_MODE_MASTER;
  hspi1.Init.Direction = SPI_DIRECTION_2LINES;
  hspi1.Init.DataSize = SPI_DATASIZE_16BIT;
  hspi1.Init.CLKPolarity = SPI_POLARITY_LOW;
  hspi1.Init.CLKPhase = SPI_PHASE_1EDGE;
  hspi1.Init.NSS = SPI_NSS_SOFT;
  hspi1.Init.BaudRatePrescaler = SPI_BAUDRATEPRESCALER_4;
  hspi1.Init.FirstBit = SPI_FIRSTBIT_MSB;
  hspi1.Init.TIMode = SPI_TIMODE_DISABLE;
  hspi1.Init.CRCCalculation = SPI_CRCCALCULATION_DISABLE;
  hspi1.Init.CRCPolynomial = 7;
  hspi1.Init.CRCLength = SPI_CRC_LENGTH_DATASIZE;
  hspi1.Init.NSSPMode = SPI_NSS_PULSE_ENABLE;
  if (HAL_SPI_Init(&hspi1) != HAL_OK)
  {
    Error_Handler();
  }

}

static void MX_SPI2_Init(void)
{

  /* SPI2 parameter configuration*/
  hspi2.Instance = SPI2;
  hspi2.Init.Mode = SPI_MODE_MASTER;
  hspi2.Init.Direction = SPI_DIRECTION_2LINES_RXONLY;
  hspi2.Init.DataSize = SPI_DATASIZE_9BIT;
  hspi2.Init.CLKPolarity = SPI_POLARITY_LOW;
  hspi2.Init.CLKPhase = SPI_PHASE_1EDGE;
  hspi2.Init.NSS = SPI_NSS_SOFT;
  hspi2.Init.BaudRatePrescaler = SPI_BAUDRATEPRESCALER_64;
  hspi2.Init.FirstBit = SPI_FIRSTBIT_MSB;
  hspi2.Init.TIMode = SPI_TIMODE_DISABLE;
  hspi2.Init.CRCCalculation = SPI_CRCCALCULATION_DISABLE;
  hspi2.Init.CRCPolynomial = 7;
  hspi2.Init.CRCLength = SPI_CRC_LENGTH_DATASIZE;
  hspi2.Init.NSSPMode = SPI_NSS_PULSE_ENABLE;
  if (HAL_SPI_Init(&hspi2) != HAL_OK)
  {
    Error_Handler();
  }

}

static void MX_GPIO_Init(void)
{
  GPIO_InitTypeDef GPIO_InitStruct = {0};

  /* GPIO Ports Clock Enable */
  __HAL_RCC_GPIOC_CLK_ENABLE();
  __HAL_RCC_GPIOF_CLK_ENABLE();
  __HAL_RCC_GPIOA_CLK_ENABLE();
  __HAL_RCC_GPIOB_CLK_ENABLE();

  /*Configure GPIO pin Output Level */
  HAL_GPIO_WritePin(GPIOA, MUX_SEL0_Pin|MUX_SEL1_Pin|MUX_SEL2_Pin|MUX_SEL3_Pin
                          |CS_LD_Pin, GPIO_PIN_RESET);

  /*Configure GPIO pin Output Level */
  HAL_GPIO_WritePin(GPIOB, ADC_CNV_Pin|LED_Pin, GPIO_PIN_RESET);

  /*Configure GPIO pins : MUX_SEL0_Pin MUX_SEL1_Pin MUX_SEL2_Pin MUX_SEL3_Pin
                           CS_LD_Pin */
  GPIO_InitStruct.Pin = MUX_SEL0_Pin|MUX_SEL1_Pin|MUX_SEL2_Pin|MUX_SEL3_Pin
                          |CS_LD_Pin;
  GPIO_InitStruct.Mode = GPIO_MODE_OUTPUT_PP;
  GPIO_InitStruct.Pull = GPIO_NOPULL;
  GPIO_InitStruct.Speed = GPIO_SPEED_FREQ_LOW;
  HAL_GPIO_Init(GPIOA, &GPIO_InitStruct);

  /*Configure GPIO pins : ADC_CNV_Pin LED_Pin */
  GPIO_InitStruct.Pin = ADC_CNV_Pin|LED_Pin;
  GPIO_InitStruct.Mode = GPIO_MODE_OUTPUT_PP;
  GPIO_InitStruct.Pull = GPIO_NOPULL;
  GPIO_InitStruct.Speed = GPIO_SPEED_FREQ_LOW;
  HAL_GPIO_Init(GPIOB, &GPIO_InitStruct);

  /*Configure GPIO pin : ADC_BUSY_Pin */
  GPIO_InitStruct.Pin = ADC_BUSY_Pin;
  GPIO_InitStruct.Mode = GPIO_MODE_INPUT;
  GPIO_InitStruct.Pull = GPIO_NOPULL;
  HAL_GPIO_Init(ADC_BUSY_GPIO_Port, &GPIO_InitStruct);

  /*Configure GPIO pin : PA10 */
  GPIO_InitStruct.Pin = GPIO_PIN_10;
  GPIO_InitStruct.Mode = GPIO_MODE_AF_PP;
  GPIO_InitStruct.Pull = GPIO_NOPULL;
  GPIO_InitStruct.Speed = GPIO_SPEED_FREQ_LOW;
  GPIO_InitStruct.Alternate = GPIO_AF3_UCPD1;
  HAL_GPIO_Init(GPIOA, &GPIO_InitStruct);

}

/* USER CODE BEGIN 4 */

//This function finds the information between two ":" chars given the data buffer and a start point
//Return 1 if data was found, 0 if else.

/* USER CODE END 4 */

void Error_Handler(void)
{
  __disable_irq();
  while (1)
  {
  }
}
